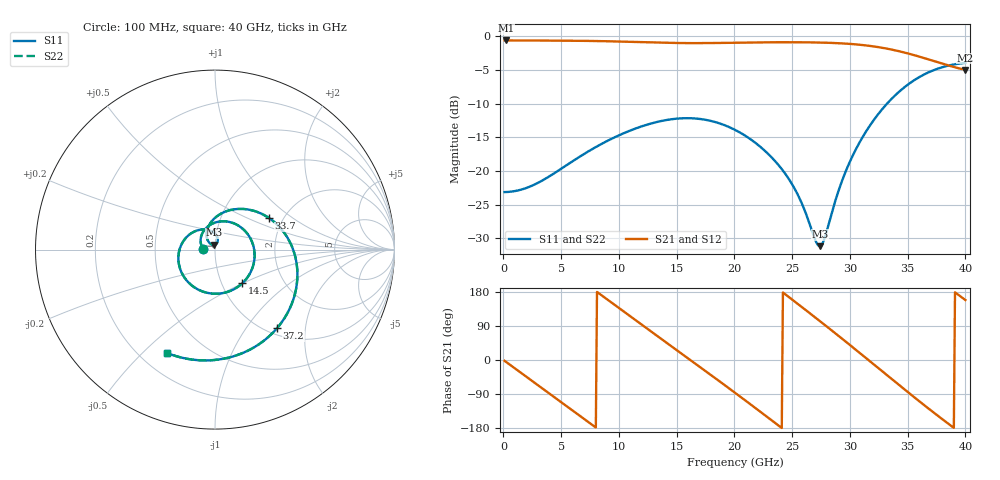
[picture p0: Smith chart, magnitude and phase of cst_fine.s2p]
! C_s8_nfp: L1→L8, antipad Ø0.9, non-functional pads kept
! stackup: 8-layer 1.6 mm FR-4 (generic)
! ports: 1, 2
! CST Studio Suite 2025.5 Release from 2025-05-30, time domain (FIT, hexahedral, PBA), 386496 mesh cells, 72 s
! mesh: {'lpw': 30.0, 'lpb': 30.0, 'minstep': 0.0, 'ratio': 20}; ports: port 1 (face); port 2 (face)
! interpolated from CST's 1001 samples to the case grid
# Hz S RI R 50
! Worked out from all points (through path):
!   400 points, 100 MHz to 40 GHz, reference 50 ohm
!   highest |S21| = -0.62 dB at 200 MHz (marker M1); lowest = -5.0 dB at 40 GHz (marker M2)
!   group delay of S21, straight-line fit = 64 ps
!   lowest |S11| = -31.2 dB at 27.4 GHz (marker M3), VSWR 1.06, Z = 49.5 + j2.69 ohm
!   |S11| at or under -10 dB: start of sweep to 33.22 GHz
!   |S22| runs from -31.2 to -3.9 dB; largest |S21 - S12| = 8.1e-07
!   S11 on the Smith chart (normalised r, x): 100 MHz: 0.87, +0.00; 14.5 GHz: 1.25, -0.50; 33.7 GHz: 1.69, +0.68; 37.2 GHz: 1.11, -1.41; 40 GHz: 0.31, -0.59
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1e8  -0.0695 0.000664  0.9301 -0.0361  0.9301 -0.0361  -0.0695 0.000664
2e8  -0.0696 0.00133  0.928 -0.0722  0.928 -0.0722  -0.0696 0.00133
3.6e9  -0.0791 0.0365  0.1602 -0.9155  0.1602 -0.9155  -0.0791 0.0365
6.8e9  -0.0486 0.1212  -0.8121 -0.4429  -0.8121 -0.4429  -0.0486 0.1212
8.7e9  0.0379 0.1576  -0.8928 0.2196  -0.8928 0.2196  0.0379 0.1576
1.07e10  0.1605 0.1107  -0.4767 0.7758  -0.4767 0.7758  0.1605 0.1107
1.34e10  0.209 -0.1007  0.4261 0.7892  0.4261 0.7892  0.209 -0.1007
1.45e10  0.1527 -0.1871  0.7099 0.541  0.7099 0.541  0.1527 -0.1871
1.71e10  -0.0829 -0.2279  0.8344 -0.3079  0.8344 -0.3079  -0.0828 -0.2279
2.01e10  -0.2004 -0.0111  0.0384 -0.8952  0.0384 -0.8952  -0.2004 -0.0111
2.17e10  -0.1406 0.0852  -0.5036 -0.7461  -0.5036 -0.7461  -0.1406 0.0852
2.36e10  -0.0397 0.1091  -0.8828 -0.19  -0.8828 -0.19  -0.0397 0.1091
2.51e10  0.00907 0.0762  -0.832 0.3508  -0.832 0.3508  0.00906 0.0762
2.67e10  0.00949 0.0349  -0.4414 0.7847  -0.4414 0.7847  0.00948 0.0349
2.74e10  -0.00455 0.0272  -0.1968 0.8762  -0.1968 0.8762  -0.00455 0.0272
2.9e10  -0.0423 0.0563  0.3887 0.7987  0.3887 0.7987  -0.0423 0.0563
3.07e10  -0.0217 0.1533  0.8024 0.3299  0.8024 0.3299  -0.0217 0.1533
3.34e10  0.2616 0.1986  0.5703 -0.5657  0.5703 -0.5657  0.2616 0.1986
3.37e10  0.3017 0.1755  0.4861 -0.6272  0.4861 -0.6272  0.3017 0.1755
3.53e10  0.4514 -0.0585  -0.0221 -0.7342  -0.0221 -0.7342  0.4514 -0.0585
3.72e10  0.3464 -0.4369  -0.484 -0.4446  -0.484 -0.4446  0.3464 -0.4369
4e10  -0.2671 -0.5759  -0.5225 0.2087  -0.5225 0.2087  -0.2671 -0.5759
